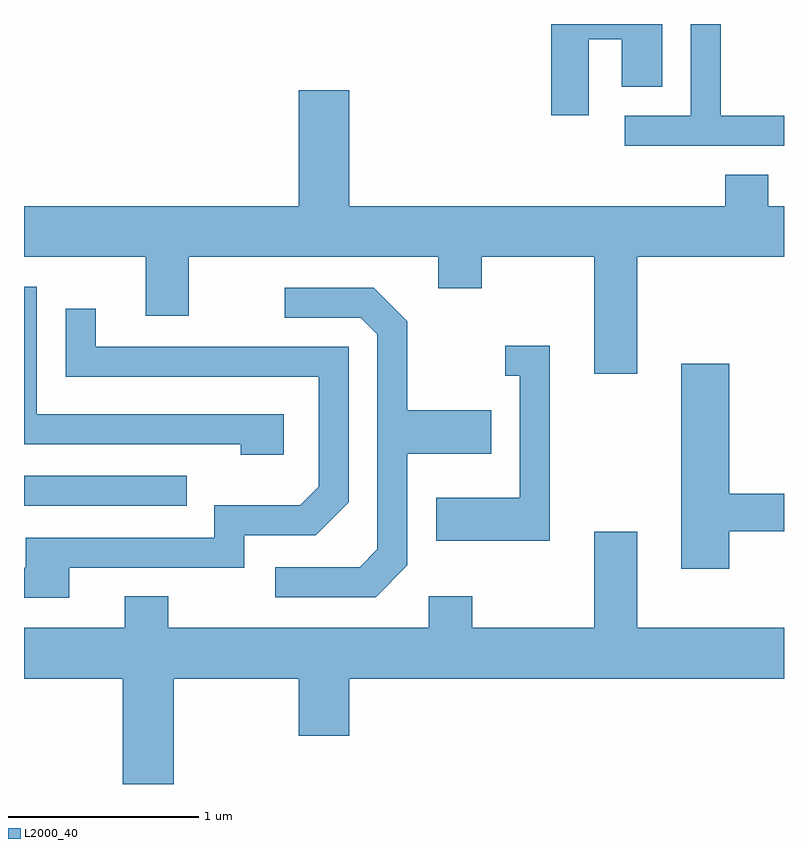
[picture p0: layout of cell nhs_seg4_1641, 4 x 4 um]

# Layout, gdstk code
import gdstk
lib = gdstk.Library(unit=1e-6, precision=1e-09)
def R(c, l, rs):  # rectangles x0, y0, x1, y1
    for r in rs: c.add(gdstk.rectangle(r[:2], r[2:], *l))
def P(c, l, *ps):  # polygons
    for p in ps: c.add(gdstk.Polygon(p, *l))
L2000_40 = (2000, 40)

nhs_seg4_1641 = lib.new_cell('nhs_seg4_1641')
R(nhs_seg4_1641, L2000_40, [(233.611,1273.446,234.468,1273.604)])
P(nhs_seg4_1641, L2000_40, [(236.584,1275.901),(236.756,1275.901),(236.756,1275.651),(236.969,1275.651),(236.969,1275.982),(236.386,1275.982),(236.386,1275.501),(236.584,1275.501)],
  [(237.611,1275.499),(237.279,1275.499),(237.279,1275.982),(237.121,1275.982),(237.121,1275.499),(236.773,1275.499),(236.773,1275.341),(237.611,1275.341)],
  [(236.839,1274.756),(237.611,1274.756),(237.611,1275.024),(237.529,1275.024),(237.529,1275.189),(237.301,1275.189),(237.301,1275.024),(235.324,1275.024),(235.324,1275.634),(235.056,1275.634),(235.056,1275.024),(233.611,1275.024),(233.611,1274.756),(234.251,1274.756),(234.251,1274.446),(234.479,1274.446),(234.479,1274.756),(235.791,1274.756),(235.791,1274.591),(236.019,1274.591),(236.019,1274.756),(236.611,1274.756),(236.611,1274.141),(236.839,1274.141)],
  [(234.979,1273.929),(233.679,1273.929),(233.679,1274.599),(233.611,1274.599),(233.611,1273.771),(234.751,1273.771),(234.751,1273.716),(234.979,1273.716)],
  [(235.629,1273.134),(235.629,1273.721),(236.069,1273.721),(236.069,1273.949),(235.629,1273.949),(235.629,1274.417),(235.452,1274.594),(234.983,1274.594),(234.983,1274.436),(235.384,1274.436),(235.471,1274.349),(235.471,1273.217),(235.379,1273.124),(234.933,1273.124),(234.933,1272.966),(235.462,1272.966)],
  [(233.849,1273.121),(234.769,1273.121),(234.769,1273.291),(235.147,1273.291),(235.319,1273.464),(235.319,1274.284),(233.989,1274.284),(233.989,1274.483),(233.831,1274.483),(233.831,1274.126),(235.161,1274.126),(235.161,1273.547),(235.064,1273.449),(234.611,1273.449),(234.611,1273.279),(233.621,1273.279),(233.621,1273.119),(233.611,1273.119),(233.611,1272.961),(233.849,1272.961)],
  [(236.379,1274.289),(236.143,1274.289),(236.143,1274.131),(236.221,1274.131),(236.221,1273.489),(235.781,1273.489),(235.781,1273.261),(236.379,1273.261)],
  [(237.324,1273.311),(237.611,1273.311),(237.611,1273.509),(237.324,1273.509),(237.324,1274.194),(237.071,1274.194),(237.071,1273.116),(237.324,1273.116)],
  [(234.399,1272.536),(235.056,1272.536),(235.056,1272.236),(235.324,1272.236),(235.324,1272.536),(237.611,1272.536),(237.611,1272.804),(236.839,1272.804),(236.839,1273.309),(236.611,1273.309),(236.611,1272.804),(235.969,1272.804),(235.969,1272.969),(235.741,1272.969),(235.741,1272.804),(234.369,1272.804),(234.369,1272.969),(234.141,1272.969),(234.141,1272.804),(233.611,1272.804),(233.611,1272.536),(234.131,1272.536),(234.131,1271.982),(234.399,1271.982)])

lib.write_gds('nhs_seg4_1641.gds')
